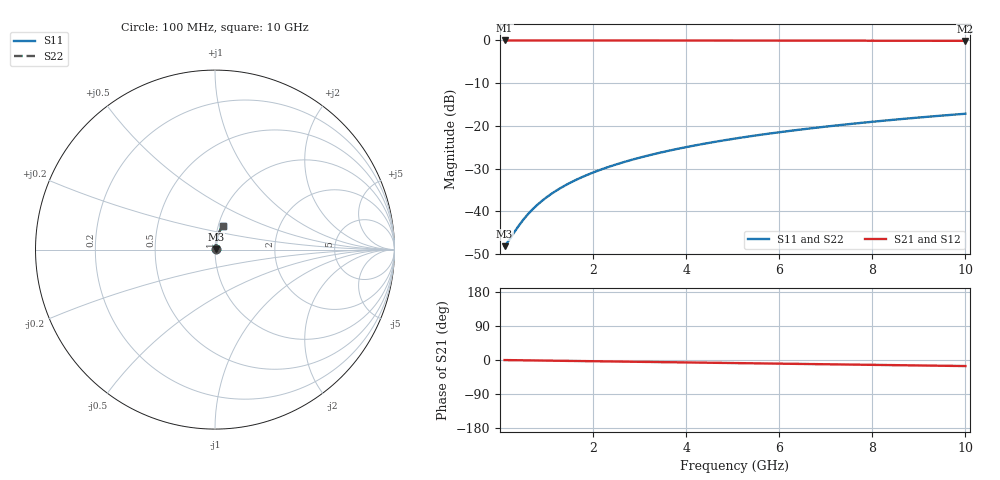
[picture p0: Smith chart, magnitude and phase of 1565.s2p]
# Hz S RI R 50.00
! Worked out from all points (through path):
!   100 points, 100 MHz to 10 GHz, reference 50 ohm
!   highest |S21| = -0.03 dB at 100 MHz (marker M1); lowest = -0.1 dB at 10 GHz (marker M2)
!   group delay of S21, straight-line fit = 4.44 ps
!   lowest |S11| = -48.1 dB at 100 MHz (marker M3), VSWR 1.01, Z = 50.4 + j0.141 ohm
!   |S11| at or under -10 dB: start of sweep to end of sweep
!   |S22| runs from -48.1 to -17.2 dB; largest |S21 - S12| = 0
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1e8  0.00366 0.0014  0.9963 -0.00279  0.9963 -0.00279  0.00366 0.0014
2e8  0.0037 0.0028  0.9963 -0.00558  0.9963 -0.00558  0.0037 0.0028
4e8  0.00377 0.0056  0.9962 -0.0112  0.9962 -0.0112  0.00377 0.0056
5e8  0.00382 0.007  0.9961 -0.014  0.9961 -0.014  0.00382 0.007
6e8  0.00387 0.0084  0.9961 -0.0167  0.9961 -0.0167  0.00387 0.0084
7e8  0.00394 0.0098  0.996 -0.0195  0.996 -0.0195  0.00394 0.0098
8e8  0.004 0.0112  0.9959 -0.0223  0.9959 -0.0223  0.004 0.0112
1e9  0.00416 0.014  0.9957 -0.0279  0.9957 -0.0279  0.00416 0.014
1.2e9  0.00435 0.0168  0.9955 -0.0335  0.9955 -0.0335  0.00435 0.0168
1.5e9  0.00468 0.021  0.9951 -0.0418  0.9951 -0.0418  0.00468 0.021
1.8e9  0.00508 0.0251  0.9946 -0.0502  0.9946 -0.0502  0.00508 0.0251
2.1e9  0.00556 0.0293  0.994 -0.0585  0.994 -0.0585  0.00556 0.0293
2.5e9  0.00629 0.0349  0.9931 -0.0696  0.9931 -0.0696  0.00629 0.0349
2.9e9  0.00715 0.0404  0.992 -0.0807  0.992 -0.0807  0.00715 0.0404
3.4e9  0.0084 0.0473  0.9904 -0.0946  0.9904 -0.0946  0.0084 0.0473
4.2e9  0.0108 0.0582  0.9874 -0.1166  0.9874 -0.1166  0.0108 0.0582
5.1e9  0.014 0.0703  0.9834 -0.1413  0.9834 -0.1413  0.014 0.0703
5.9e9  0.0175 0.0809  0.9791 -0.1631  0.9791 -0.1631  0.0175 0.0809
6.7e9  0.0213 0.0913  0.9742 -0.1847  0.9742 -0.1847  0.0213 0.0913
7.5e9  0.0256 0.1016  0.9688 -0.2061  0.9688 -0.2061  0.0256 0.1016
8.4e9  0.031 0.1128  0.962 -0.2299  0.962 -0.2299  0.031 0.1128
1e10  0.0419 0.132  0.9481 -0.2715  0.9481 -0.2715  0.0419 0.132
